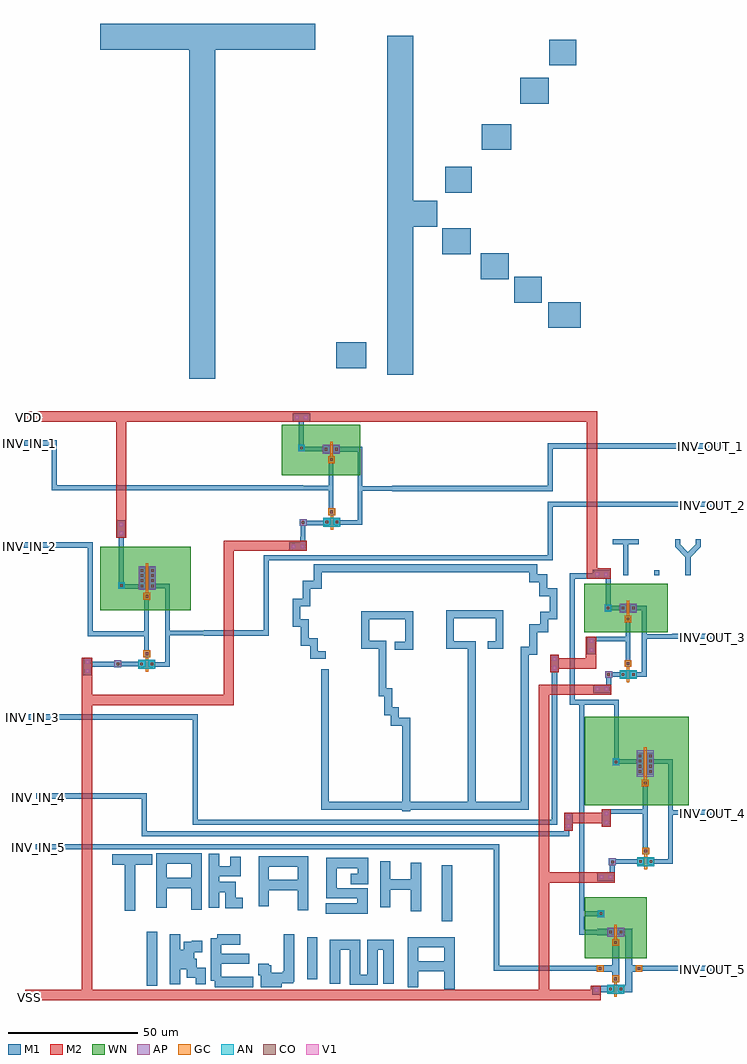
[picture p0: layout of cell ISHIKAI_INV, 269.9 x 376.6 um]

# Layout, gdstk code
from math import pi, radians
import gdstk
lib = gdstk.Library(unit=1e-6, precision=1e-07)
def R(c, l, rs):  # rectangles x0, y0, x1, y1
    for r in rs: c.add(gdstk.rectangle(r[:2], r[2:], *l))
def A(c, l, x, y, w, h, nx, ny, dx, dy):  # array of equal rectangles
    R(c, l, [(x+i*dx, y+j*dy, x+i*dx+w, y+j*dy+h) for i in range(nx) for j in range(ny)])
def P(c, l, *ps):  # polygons
    for p in ps: c.add(gdstk.Polygon(p, *l))
AP = (3, 1)
AN = (3, 2)
GC = (8, 1)
CO = (11, 0)
M1 = (13, 0)
V1 = (19, 0)
M2 = (20, 0)
WN = (140, 0)

cont_g = lib.new_cell('cont_g')
R(cont_g, GC, [(-1.3,-1.3,1.3,1.3)])
R(cont_g, CO, [(-0.5,-0.5,0.5,0.5)])
R(cont_g, M1, [(-1.3,-1.3,1.3,1.3)])

cont_n = lib.new_cell('cont_n')
R(cont_n, AN, [(-1.3,-1.3,1.3,1.3)])
R(cont_n, CO, [(-0.5,-0.5,0.5,0.5)])
R(cont_n, M1, [(-1.3,-1.3,1.3,1.3)])

cont_p = lib.new_cell('cont_p')
R(cont_p, AP, [(-1.3,-1.3,1.3,1.3)])
R(cont_p, CO, [(-0.5,-0.5,0.5,0.5)])
R(cont_p, M1, [(-1.3,-1.3,1.3,1.3)])

fet_n = lib.new_cell('fet_n')
R(fet_n, AN, [(-3.3,-1.7,3.3,1.7)])
R(fet_n, CO, [(-2.5,-0.5,-1.5,0.5), (1.5,-0.5,2.5,0.5)])
R(fet_n, M1, [(-3.3,-1.3,-0.7,1.3), (0.7,-1.3,3.3,1.3)])
fet_n.add(gdstk.FlexPath([(0,-2.9),(0,2.9)], 1, ends="flush", simple_path=True, layer=8, datatype=1))  # GC

fet_p = lib.new_cell('fet_p')
R(fet_p, AP, [(-3.3,-1.7,3.3,1.7)])
R(fet_p, CO, [(-2.5,-0.5,-1.5,0.5), (1.5,-0.5,2.5,0.5)])
R(fet_p, M1, [(-3.3,-1.3,-0.7,1.3), (0.7,-1.3,3.3,1.3)])
fet_p.add(gdstk.FlexPath([(0,-2.9),(0,2.9)], 1, ends="flush", simple_path=True, layer=8, datatype=1))  # GC

text = lib.new_cell('TEXT')
R(text, M1, [(16,0,18,2)])
P(text, M1, [(4,0),(4,12),(0,12),(0,14),(10,14),(10,12),(6,12),(6,0)],
  [(28,0),(28,7),(24,11),(24,14),(26,14),(26,12),(29,9),(32,12),(32,14),(34,14),(34,11),(30,7),(30,0)])

inverter_exodjp = lib.new_cell('inverter_exodjp')
R(inverter_exodjp, WN, [(-15,8.7,17.3,27.5)])
inverter_exodjp.add(gdstk.FlexPath([(2,14.3),(2,-3.9)], 1.8, ends="flush", simple_path=True, layer=13, datatype=0))  # M1
inverter_exodjp.add(gdstk.FlexPath([(2.2,6.1),(-13.9,6.1)], 1.8, ends="flush", simple_path=True, layer=13, datatype=0))  # M1
inverter_exodjp.add(gdstk.FlexPath([(3.5,18),(8.2,18),(8.2,-7.6),(3.5,-7.6)], 1.8, ends="flush", simple_path=True, layer=13, datatype=0))  # M1
inverter_exodjp.add(gdstk.FlexPath([(8.2,7.1),(19.5,7.1)], 1.8, ends="flush", simple_path=True, layer=13, datatype=0))  # M1
inverter_exodjp.add(gdstk.FlexPath([(0.5,18),(-5.7,18),(-5.7,31.4)], 1.8, ends="flush", simple_path=True, layer=13, datatype=0))  # M1
inverter_exodjp.add(gdstk.FlexPath([(-0.3,-7.6),(-5.5,-7.6),(-5.5,-13.5)], 1.8, ends="flush", simple_path=True, layer=13, datatype=0))  # M1
inverter_exodjp.add(gdstk.Reference(cont_g, (2,13.8)))
inverter_exodjp.add(gdstk.Reference(cont_g, (2,-3.4)))
inverter_exodjp.add(gdstk.Reference(cont_n, (-5.8,18)))
inverter_exodjp.add(gdstk.Reference(cont_p, (-5.5,-7.6)))
inverter_exodjp.add(gdstk.Reference(fet_n, (2,-7.6)))
inverter_exodjp.add(gdstk.Reference(fet_p, (2,18)))
inverter_exodjp.add(gdstk.Reference(text, (-3.9,30.6)))
inverter_exodjp.add(gdstk.Label('A', (-12.4,5.9), layer=48, texttype=0))
inverter_exodjp.add(gdstk.Label('Q', (18.7,7), layer=48, texttype=0))
inverter_exodjp.add(gdstk.Label('VDD', (-6.1,30), layer=48, texttype=0))
inverter_exodjp.add(gdstk.Label('VSS', (-5.8,-13), layer=48, texttype=0))

fet_p_1 = lib.new_cell('fet_p$1')
R(fet_p_1, AP, [(-3.3,-4.5,3.3,4.5)])
A(fet_p_1, CO, -2.5, -3.5, 1, 1, 1, 4, 0, 2)
A(fet_p_1, CO, 1.5, -3.5, 1, 1, 1, 4, 0, 2)
R(fet_p_1, M1, [(-3.3,-4.3,-0.7,4.3), (0.7,-4.3,3.3,4.3)])
fet_p_1.add(gdstk.FlexPath([(0,-5.7),(0,5.7)], 1, ends="flush", simple_path=True, layer=8, datatype=1))  # GC

cont_g_1 = lib.new_cell('cont_g$1')
R(cont_g_1, GC, [(-1.3,-1.3,1.3,1.3)])
R(cont_g_1, CO, [(-0.5,-0.5,0.5,0.5)])
R(cont_g_1, M1, [(-1.3,-1.3,1.3,1.3)])

fet_n_1 = lib.new_cell('fet_n$1')
R(fet_n_1, AN, [(-3.3,-1.7,3.3,1.7)])
R(fet_n_1, CO, [(-2.5,-0.5,-1.5,0.5), (1.5,-0.5,2.5,0.5)])
R(fet_n_1, M1, [(-3.3,-1.3,-0.7,1.3), (0.7,-1.3,3.3,1.3)])
fet_n_1.add(gdstk.FlexPath([(0,-2.9),(0,2.9)], 1, ends="flush", simple_path=True, layer=8, datatype=1))  # GC

cont_n_1 = lib.new_cell('cont_n$1')
R(cont_n_1, AN, [(-1.3,-1.3,1.3,1.3)])
R(cont_n_1, CO, [(-0.5,-0.5,0.5,0.5)])
R(cont_n_1, M1, [(-1.3,-1.3,1.3,1.3)])

cont_p_1 = lib.new_cell('cont_p$1')
R(cont_p_1, AP, [(-1.3,-1.3,1.3,1.3)])
R(cont_p_1, CO, [(-0.5,-0.5,0.5,0.5)])
R(cont_p_1, M1, [(-1.3,-1.3,1.3,1.3)])

inverter_july_fifth = lib.new_cell('inverter_july_fifth')
R(inverter_july_fifth, WN, [(-17.4,-8,17.5,16.5)])
inverter_july_fifth.add(gdstk.FlexPath([(69.6,-25.3),(65,-25.3),(65,-20.3),(61.4,-20.3),(61.4,-12.9),(58.2,-12.9),(58.2,-5),(62.1,-5),(62.1,1.8),(66.4,1.8),(66.4,8.2),(149.6,8.2),(149.6,4.3),(153.5,4.3),(153.5,-1.1),(157.4,-1.1),(157.4,-10),(153.8,-10),(153.8,-15),(149.6,-15),(149.6,-23.6),(146.3,-23.6),(146.3,-83.4),(69.2,-83.4),(69.2,-30.8)], 3, ends="flush", simple_path=True, layer=13, datatype=0))  # M1
inverter_july_fifth.add(gdstk.FlexPath([(-12.8,-104.2),(2.6,-104.2)], 4, ends="flush", simple_path=True, layer=13, datatype=0))  # M1
inverter_july_fifth.add(gdstk.FlexPath([(-6,-104.2),(-6,-123.9)], 4, ends="flush", simple_path=True, layer=13, datatype=0))  # M1
inverter_july_fifth.add(gdstk.FlexPath([(6.2,-122.9),(6.2,-103.8),(19.7,-103.8),(19.7,-123.5)], 4, ends="flush", simple_path=True, layer=13, datatype=0))  # M1
inverter_july_fifth.add(gdstk.FlexPath([(6.8,-113.3),(18.8,-113.3)], 4, ends="flush", simple_path=True, layer=13, datatype=0))  # M1
inverter_july_fifth.add(gdstk.FlexPath([(45.6,-122.3),(45.6,-105),(60.7,-105),(60.7,-123.8)], 4, ends="flush", simple_path=True, layer=13, datatype=0))  # M1
inverter_july_fifth.add(gdstk.FlexPath([(45.9,-114),(60.4,-114)], 4, ends="flush", simple_path=True, layer=13, datatype=0))  # M1
inverter_july_fifth.add(gdstk.FlexPath([(79.1,-111.7),(83.9,-111.7),(83.9,-105.5),(71.8,-105.5),(71.8,-117.2),(83.7,-117.2),(83.7,-123.1),(69.6,-123.1)], 4, ends="flush", simple_path=True, layer=13, datatype=0))  # M1
inverter_july_fifth.add(gdstk.FlexPath([(92.5,-104.9),(92.5,-122.7)], 4, ends="flush", simple_path=True, layer=13, datatype=0))  # M1
inverter_july_fifth.add(gdstk.FlexPath([(93,-113.8),(102.4,-113.8)], 4, ends="flush", simple_path=True, layer=13, datatype=0))  # M1
inverter_july_fifth.add(gdstk.FlexPath([(104.4,-105.4),(104.4,-124.2)], 4, ends="flush", simple_path=True, layer=13, datatype=0))  # M1
inverter_july_fifth.add(gdstk.FlexPath([(116.3,-106.4),(116.3,-128.1)], 4, ends="flush", simple_path=True, layer=13, datatype=0))  # M1
inverter_july_fifth.add(gdstk.FlexPath([(2.5,-132.1),(2.5,-152.9)], 4, ends="flush", simple_path=True, layer=13, datatype=0))  # M1
inverter_july_fifth.add(gdstk.FlexPath([(11.4,-133.1),(11.4,-152.4)], 4, ends="flush", simple_path=True, layer=13, datatype=0))  # M1
inverter_july_fifth.add(gdstk.FlexPath([(11.9,-141),(16.8,-141),(16.8,-138),(19.8,-138),(19.8,-135.6)], 4, ends="flush", simple_path=True, layer=13, datatype=0))  # M1
inverter_july_fifth.add(gdstk.FlexPath([(12.9,-144.5),(17.8,-144.5),(17.8,-147.9),(21.3,-147.9),(21.3,-152.4)], 4, ends="flush", simple_path=True, layer=13, datatype=0))  # M1
inverter_july_fifth.add(gdstk.FlexPath([(27.2,-134.6),(27.2,-150.9)], 4, ends="flush", simple_path=True, layer=13, datatype=0))  # M1
inverter_july_fifth.add(gdstk.FlexPath([(27.7,-135.1),(36.6,-135.1)], 4, ends="flush", simple_path=True, layer=13, datatype=0))  # M1
inverter_july_fifth.add(gdstk.FlexPath([(27.7,-142.5),(40.1,-142.5)], 4, ends="flush", simple_path=True, layer=13, datatype=0))  # M1
inverter_july_fifth.add(gdstk.FlexPath([(26.7,-151.4),(41.6,-151.4)], 4, ends="flush", simple_path=True, layer=13, datatype=0))  # M1
inverter_july_fifth.add(gdstk.FlexPath([(55.4,-133.1),(55.4,-149.4),(54.9,-149.4),(54.9,-149.9),(50.5,-149.9),(50.5,-151.4),(46.5,-151.4),(46.5,-146.9),(45.5,-146.9),(45.5,-144.5)], 4, ends="flush", simple_path=True, layer=13, datatype=0))  # M1
inverter_july_fifth.add(gdstk.FlexPath([(64.3,-134.1),(64.3,-150.4)], 4, ends="flush", simple_path=True, layer=13, datatype=0))  # M1
inverter_july_fifth.add(gdstk.FlexPath([(73.1,-135.2),(73.1,-152.1)], 4, ends="flush", simple_path=True, layer=13, datatype=0))  # M1
inverter_july_fifth.add(gdstk.FlexPath([(74.6,-137.1),(80.8,-137.1),(80.8,-150.6),(87.6,-150.6),(87.6,-137.1),(93.8,-137.1),(93.8,-152.1)], 4, ends="flush", simple_path=True, layer=13, datatype=0))  # M1
inverter_july_fifth.add(gdstk.FlexPath([(103.2,-153.4),(103.2,-136.1),(117.3,-136.1),(117.3,-154.3)], 4, ends="flush", simple_path=True, layer=13, datatype=0))  # M1
inverter_july_fifth.add(gdstk.FlexPath([(104.7,-145.4),(116.4,-145.4)], 4, ends="flush", simple_path=True, layer=13, datatype=0))  # M1
inverter_july_fifth.add(gdstk.FlexPath([(26.4,-102),(26.4,-122.9)], 4, ends="flush", simple_path=True, layer=13, datatype=0))  # M1
inverter_july_fifth.add(gdstk.FlexPath([(26.9,-108.7),(34.7,-108.7),(34.7,-103.2)], 4, ends="flush", simple_path=True, layer=13, datatype=0))  # M1
inverter_july_fifth.add(gdstk.FlexPath([(26.6,-114.8),(32.8,-114.8),(32.8,-121),(37.5,-121)], 4, ends="flush", simple_path=True, layer=13, datatype=0))  # M1
inverter_july_fifth.add(gdstk.FlexPath([(100.6,-85.5),(100.6,-51),(96.1,-51),(96.1,-47),(93.6,-47),(93.6,-39.6),(91.4,-39.6),(91.4,-21.3),(84.8,-21.3),(84.8,-9.9),(101.7,-9.9),(101.7,-21.7),(96.1,-21.7)], 3, ends="flush", simple_path=True, layer=13, datatype=0))  # M1
inverter_july_fifth.add(gdstk.FlexPath([(125.9,-84.9),(125.9,-21.4),(117.5,-21.4),(117.5,-9.6),(136.6,-9.6),(136.6,-21.4),(132.1,-21.4)], 3, ends="flush", simple_path=True, layer=13, datatype=0))  # M1
inverter_july_fifth.add(gdstk.FlexPath([(0.4,-3.7),(0.4,-24)], 1.8, ends="flush", simple_path=True, layer=13, datatype=0))  # M1
inverter_july_fifth.add(gdstk.FlexPath([(0,-17.1),(-17.3,-17.1)], 1.8, ends="flush", simple_path=True, layer=13, datatype=0))  # M1
inverter_july_fifth.add(gdstk.FlexPath([(-8.3,1.2),(-2.4,1.2)], 1.8, ends="flush", simple_path=True, layer=13, datatype=0))  # M1
inverter_july_fifth.add(gdstk.FlexPath([(8.9,-16.8),(22.5,-16.8)], 1.8, ends="flush", simple_path=True, layer=13, datatype=0))  # M1
inverter_july_fifth.add(gdstk.FlexPath([(-9.8,-28.8),(-2.4,-28.8)], 1.8, ends="flush", simple_path=True, layer=13, datatype=0))  # M1
inverter_july_fifth.add(gdstk.FlexPath([(-9.4,2.4),(-9.4,20.1)], 1.8, ends="flush", simple_path=True, layer=13, datatype=0))  # M1
inverter_july_fifth.add(gdstk.FlexPath([(3.6,-29),(8.4,-29),(8.4,1.3),(3.4,1.3)], 1.8, ends="flush", simple_path=True, layer=13, datatype=0))  # M1
inverter_july_fifth.add(gdstk.Reference(fet_p_1, (0.6,4.4)))
inverter_july_fifth.add(gdstk.Reference(cont_g_1, (0.5,-2.6)))
inverter_july_fifth.add(gdstk.Reference(fet_n_1, (0.5,-28.8)))
inverter_july_fifth.add(gdstk.Reference(cont_g_1, (0.5,-24.8)))
inverter_july_fifth.add(gdstk.Reference(cont_n_1, (-9.3,1.5)))
inverter_july_fifth.add(gdstk.Reference(cont_p_1, (-10.7,-28.7)))

fet_p_2 = lib.new_cell('fet_p$2')
R(fet_p_2, AP, [(-3.3,-1.7,3.3,1.7)])
R(fet_p_2, CO, [(-2.5,-0.5,-1.5,0.5), (1.5,-0.5,2.5,0.5)])
R(fet_p_2, M1, [(-3.3,-1.3,-0.7,1.3), (0.7,-1.3,3.3,1.3)])
fet_p_2.add(gdstk.FlexPath([(0,-2.9),(0,2.9)], 1, ends="flush", simple_path=True, layer=8, datatype=1))  # GC

cont_g_2 = lib.new_cell('cont_g$2')
R(cont_g_2, GC, [(-1.3,-1.3,1.3,1.3)])
R(cont_g_2, CO, [(-0.5,-0.5,0.5,0.5)])
R(cont_g_2, M1, [(-1.3,-1.3,1.3,1.3)])

cont_n_2 = lib.new_cell('cont_n$2')
R(cont_n_2, AN, [(-1.3,-1.3,1.3,1.3)])
R(cont_n_2, CO, [(-0.5,-0.5,0.5,0.5)])
R(cont_n_2, M1, [(-1.3,-1.3,1.3,1.3)])

fet_n_2 = lib.new_cell('fet_n$2')
R(fet_n_2, AN, [(-3.3,-1.7,3.3,1.7)])
R(fet_n_2, CO, [(-2.5,-0.5,-1.5,0.5), (1.5,-0.5,2.5,0.5)])
R(fet_n_2, M1, [(-3.3,-1.3,-0.7,1.3), (0.7,-1.3,3.3,1.3)])
fet_n_2.add(gdstk.FlexPath([(0,-2.9),(0,2.9)], 1, ends="flush", simple_path=True, layer=8, datatype=1))  # GC

cont_p_2 = lib.new_cell('cont_p$2')
R(cont_p_2, AP, [(-1.3,-1.3,1.3,1.3)])
R(cont_p_2, CO, [(-0.5,-0.5,0.5,0.5)])
R(cont_p_2, M1, [(-1.3,-1.3,1.3,1.3)])

inverter_kubotakeshi = lib.new_cell('inverter_kubotakeshi')
R(inverter_kubotakeshi, WN, [(-20,-4.9,10.2,14.6)])
inverter_kubotakeshi.add(gdstk.FlexPath([(-90,164.2),(-7.2,164.2)], 10, ends="flush", simple_path=True, layer=13, datatype=0))  # M1
inverter_kubotakeshi.add(gdstk.FlexPath([(-50.8,163.9),(-50.8,32.3)], 10, ends="flush", simple_path=True, layer=13, datatype=0))  # M1
inverter_kubotakeshi.add(gdstk.FlexPath([(1,41.4),(12.6,41.4)], 10, ends="flush", simple_path=True, layer=13, datatype=0))  # M1
inverter_kubotakeshi.add(gdstk.FlexPath([(25.7,164.6),(25.7,33.9)], 10, ends="flush", simple_path=True, layer=13, datatype=0))  # M1
inverter_kubotakeshi.add(gdstk.FlexPath([(26.3,96),(39.9,96)], 10, ends="flush", simple_path=True, layer=13, datatype=0))  # M1
inverter_kubotakeshi.add(gdstk.FlexPath([(43.1,109.1),(53.2,109.1)], 10, ends="flush", simple_path=True, layer=13, datatype=0))  # M1
inverter_kubotakeshi.add(gdstk.FlexPath([(57.2,125.6),(68.5,125.6)], 10, ends="flush", simple_path=True, layer=13, datatype=0))  # M1
inverter_kubotakeshi.add(gdstk.FlexPath([(72,143.4),(83,143.4)], 10, ends="flush", simple_path=True, layer=13, datatype=0))  # M1
inverter_kubotakeshi.add(gdstk.FlexPath([(83.2,158.2),(93.5,158.2)], 10, ends="flush", simple_path=True, layer=13, datatype=0))  # M1
inverter_kubotakeshi.add(gdstk.FlexPath([(41.9,85.3),(52.9,85.3)], 10, ends="flush", simple_path=True, layer=13, datatype=0))  # M1
inverter_kubotakeshi.add(gdstk.FlexPath([(56.7,75.7),(67.5,75.7)], 10, ends="flush", simple_path=True, layer=13, datatype=0))  # M1
inverter_kubotakeshi.add(gdstk.FlexPath([(69.7,66.7),(80.2,66.7)], 10, ends="flush", simple_path=True, layer=13, datatype=0))  # M1
inverter_kubotakeshi.add(gdstk.FlexPath([(82.8,56.9),(95.3,56.9)], 10, ends="flush", simple_path=True, layer=13, datatype=0))  # M1
inverter_kubotakeshi.add(gdstk.FlexPath([(-1,1.6),(-1,-19.4)], 1.8, ends="flush", simple_path=True, layer=13, datatype=0))  # M1
inverter_kubotakeshi.add(gdstk.FlexPath([(0.6,5.1),(10.2,5.1),(10.2,-23.1),(0.8,-23.1)], 1.8, ends="flush", simple_path=True, layer=13, datatype=0))  # M1
inverter_kubotakeshi.add(gdstk.FlexPath([(10.1,-10),(22.7,-10)], 1.8, ends="flush", simple_path=True, layer=13, datatype=0))  # M1
inverter_kubotakeshi.add(gdstk.FlexPath([(-1.1,-9.8),(-12.5,-9.8)], 1.8, ends="flush", simple_path=True, layer=13, datatype=0))  # M1
inverter_kubotakeshi.add(gdstk.FlexPath([(-12,-23.3),(-2.3,-23.3)], 1.8, ends="flush", simple_path=True, layer=13, datatype=0))  # M1
inverter_kubotakeshi.add(gdstk.FlexPath([(-2.5,5.2),(-12.9,5.2)], 1.8, ends="flush", simple_path=True, layer=13, datatype=0))  # M1
inverter_kubotakeshi.add(gdstk.FlexPath([(-12.5,5.3),(-12.5,17.7)], 1.8, ends="flush", simple_path=True, layer=13, datatype=0))  # M1
inverter_kubotakeshi.add(gdstk.FlexPath([(-11.9,-22.8),(-11.9,-28.9)], 1.8, ends="flush", simple_path=True, layer=13, datatype=0))  # M1
inverter_kubotakeshi.add(gdstk.Reference(fet_p_2, (-0.9,5.1)))
inverter_kubotakeshi.add(gdstk.Reference(cont_g_2, (-0.9,1.1)))
inverter_kubotakeshi.add(gdstk.Reference(cont_n_2, (-12.4,5.6)))
inverter_kubotakeshi.add(gdstk.Reference(fet_n_2, (-0.7,-23)))
inverter_kubotakeshi.add(gdstk.Reference(cont_g_2, (-0.8,-19)))
inverter_kubotakeshi.add(gdstk.Reference(cont_p_2, (-11.8,-23.2)))
inverter_kubotakeshi.add(gdstk.Label('VSS', (-12.2,-28.4), layer=48, texttype=0))
inverter_kubotakeshi.add(gdstk.Label('VDD', (-13.1,16.5), layer=48, texttype=0))
inverter_kubotakeshi.add(gdstk.Label('A', (-11.9,-10), layer=48, texttype=0))
inverter_kubotakeshi.add(gdstk.Label('Q', (21.7,-10.2), layer=48, texttype=0))

cont_g_3 = lib.new_cell('cont_g$3')
R(cont_g_3, GC, [(-1.3,-1.3,1.3,1.3)])
R(cont_g_3, CO, [(-0.5,-0.5,0.5,0.5)])
R(cont_g_3, M1, [(-1.3,-1.3,1.3,1.3)])

cont_n_3 = lib.new_cell('cont_n$3')
R(cont_n_3, AN, [(-1.3,-1.3,1.3,1.3)])
R(cont_n_3, CO, [(-0.5,-0.5,0.5,0.5)])
R(cont_n_3, M1, [(-1.3,-1.3,1.3,1.3)])

cont_p_3 = lib.new_cell('cont_p$3')
R(cont_p_3, AP, [(-1.3,-1.3,1.3,1.3)])
R(cont_p_3, CO, [(-0.5,-0.5,0.5,0.5)])
R(cont_p_3, M1, [(-1.3,-1.3,1.3,1.3)])

fet_n_3 = lib.new_cell('fet_n$3')
R(fet_n_3, AN, [(-3.3,-1.7,3.3,1.7)])
R(fet_n_3, CO, [(-2.5,-0.5,-1.5,0.5), (1.5,-0.5,2.5,0.5)])
R(fet_n_3, M1, [(-3.3,-1.3,-0.7,1.3), (0.7,-1.3,3.3,1.3)])
fet_n_3.add(gdstk.FlexPath([(0,-2.9),(0,2.9)], 1, ends="flush", simple_path=True, layer=8, datatype=1))  # GC

fet_p_3 = lib.new_cell('fet_p$3')
R(fet_p_3, AP, [(-3.3,-5.1,3.3,5.1)])
A(fet_p_3, CO, -2.5, -3.5, 1, 1, 1, 4, 0, 2)
A(fet_p_3, CO, 1.5, -3.5, 1, 1, 1, 4, 0, 2)
R(fet_p_3, M1, [(-3.3,-4.3,-0.7,4.3), (0.7,-4.3,3.3,4.3)])
fet_p_3.add(gdstk.FlexPath([(0,-6.3),(0,6.3)], 1, ends="flush", simple_path=True, layer=8, datatype=1))  # GC

inverter_pankani = lib.new_cell('inverter_pankani')
R(inverter_pankani, WN, [(-21.4,-6.6,18.8,27.4)])
inverter_pankani.add(gdstk.FlexPath([(11.1,-9.4),(23,-9.4)], 1.8, ends="flush", simple_path=True, layer=13, datatype=0))  # M1
inverter_pankani.add(gdstk.FlexPath([(2.3,-9.1),(-14.6,-9.1)], 1.8, ends="flush", simple_path=True, layer=13, datatype=0))  # M1
inverter_pankani.add(gdstk.FlexPath([(1,-28.3),(-11.8,-28.3)], 1.8, ends="flush", simple_path=True, layer=13, datatype=0))  # M1
inverter_pankani.add(gdstk.FlexPath([(-10.7,-27.8),(-10.7,-34.6)], 1.8, ends="flush", simple_path=True, layer=13, datatype=0))  # M1
inverter_pankani.add(gdstk.FlexPath([(0.9,10.2),(-9.1,10.2),(-9.1,33.1)], 1.8, ends="flush", simple_path=True, layer=13, datatype=0))  # M1
inverter_pankani.add(gdstk.FlexPath([(2,2.7),(2,-25.3)], 1.8, ends="flush", simple_path=True, layer=13, datatype=0))  # M1
inverter_pankani.add(gdstk.FlexPath([(3.3,-28.4),(11.7,-28.4),(11.7,10.2),(3,10.2)], 1.8, ends="flush", simple_path=True, layer=13, datatype=0))  # M1
inverter_pankani.add(gdstk.Reference(cont_g_3, (2,1.9)))
inverter_pankani.add(gdstk.Reference(cont_n_3, (-9.3,10.1)))
inverter_pankani.add(gdstk.Reference(cont_g_3, (2.2,-24.3)))
inverter_pankani.add(gdstk.Reference(cont_p_3, (-10.7,-28.5)))
inverter_pankani.add(gdstk.Reference(fet_n_3, (2.2,-28.4)))
inverter_pankani.add(gdstk.Reference(fet_p_3, (2,9.4), rotation=pi))
inverter_pankani.add(gdstk.Label('VDD', (-9,30.9), layer=13, texttype=0))
inverter_pankani.add(gdstk.Label('Q', (22.2,-9.3), layer=13, texttype=0))
inverter_pankani.add(gdstk.Label('A', (-13.6,-9.1), layer=13, texttype=0))
inverter_pankani.add(gdstk.Label('VSS', (-10.9,-34.2), layer=13, texttype=0))

fet_p_4 = lib.new_cell('fet_p$4')
R(fet_p_4, AP, [(-3.3,-1.7,3.3,1.7)])
R(fet_p_4, CO, [(-2.5,-0.5,-1.5,0.5), (1.5,-0.5,2.5,0.5)])
R(fet_p_4, M1, [(-3.3,-1.3,-0.7,1.3), (0.7,-1.3,3.3,1.3)])
fet_p_4.add(gdstk.FlexPath([(0,-2.9),(0,2.9)], 1, ends="flush", simple_path=True, layer=8, datatype=1))  # GC

fet_n_4 = lib.new_cell('fet_n$4')
R(fet_n_4, AN, [(-3.3,-1.7,3.3,1.7)])
R(fet_n_4, CO, [(-2.5,-0.5,-1.5,0.5), (1.5,-0.5,2.5,0.5)])
R(fet_n_4, M1, [(-3.3,-1.3,-0.7,1.3), (0.7,-1.3,3.3,1.3)])
fet_n_4.add(gdstk.FlexPath([(0,-2.9),(0,2.9)], 1, ends="flush", simple_path=True, layer=8, datatype=1))  # GC

via_1 = lib.new_cell('via_1')

cont_g_4 = lib.new_cell('cont_g$4')
R(cont_g_4, GC, [(-1.3,-1.3,1.3,1.3)])
R(cont_g_4, CO, [(-0.5,-0.5,0.5,0.5)])
R(cont_g_4, M1, [(-1.3,-1.3,1.3,1.3)])

inverter_yasushitech = lib.new_cell('inverter_yasushitech')
R(inverter_yasushitech, WN, [(8,8,32,31.4)])
inverter_yasushitech.add(gdstk.FlexPath([(19,-4),(13,-4)], 2.6, ends="flush", simple_path=True, layer=13, datatype=0))  # M1
inverter_yasushitech.add(gdstk.FlexPath([(21,18),(25,18),(25,-1)], 2.6, ends="flush", simple_path=True, layer=13, datatype=0))  # M1
inverter_yasushitech.add(gdstk.FlexPath([(25,-1),(25,-4),(21,-4)], 2.6, ends="flush", simple_path=True, layer=13, datatype=0))  # M1
inverter_yasushitech.add(gdstk.FlexPath([(20,-1),(20,15),(20,15)], 2.6, ends="flush", simple_path=True, layer=13, datatype=0))  # M1
inverter_yasushitech.add(gdstk.FlexPath([(17,18),(13,18)], 2.6, ends="flush", simple_path=True, layer=13, datatype=0))  # M1
inverter_yasushitech.add(gdstk.FlexPath([(25,4),(30,4)], 2.6, ends="flush", simple_path=True, layer=13, datatype=0))  # M1
inverter_yasushitech.add(gdstk.FlexPath([(20,4),(13,4)], 2.6, ends="flush", simple_path=True, layer=13, datatype=0))  # M1
inverter_yasushitech.add(gdstk.Reference(fet_p_4, (20,18)))
inverter_yasushitech.add(gdstk.Reference(fet_n_4, (20,-4)))
inverter_yasushitech.add(gdstk.Reference(via_1, (14,-4)))
inverter_yasushitech.add(gdstk.Reference(cont_g_4, (20,14)))
inverter_yasushitech.add(gdstk.Reference(cont_g_4, (20,0)))
inverter_yasushitech.add(gdstk.Reference(via_1, (14,18)))
inverter_yasushitech.add(gdstk.Reference(cont_g_4, (29,4)))
inverter_yasushitech.add(gdstk.Reference(cont_g_4, (14,4)))

via_1_1 = lib.new_cell('via_1$1')
R(via_1_1, M1, [(-1.7,-1.7,1.7,1.7)])
R(via_1_1, V1, [(-0.7,-0.7,0.7,0.7)])
R(via_1_1, M2, [(-1.7,-1.7,1.7,1.7)])

cont_n_4 = lib.new_cell('cont_n$4')
R(cont_n_4, AN, [(-1.3,-1.3,1.3,1.3)])
R(cont_n_4, CO, [(-0.5,-0.5,0.5,0.5)])
R(cont_n_4, M1, [(-1.3,-1.3,1.3,1.3)])

ishikai_inv = lib.new_cell('ISHIKAI_INV')
ishikai_inv.add(gdstk.FlexPath([(104.6,-97.3),(95.7,-97.3),(95.7,-8.4)], 2, ends="flush", simple_path=True, layer=13, datatype=0))  # M1
ishikai_inv.add(gdstk.FlexPath([(103.8,-111.2),(62.8,-111.2),(62.8,-64.3),(-115,-64.3)], 2, ends="flush", simple_path=True, layer=13, datatype=0))  # M1
ishikai_inv.add(gdstk.FlexPath([(103.4,-90.1),(95.9,-90.1)], 2, ends="flush", simple_path=True, layer=13, datatype=0))  # M1
ishikai_inv.add(gdstk.FlexPath([(118.1,-111.2),(149.7,-111.2)], 2, ends="flush", simple_path=True, layer=13, datatype=0))  # M1
ishikai_inv.add(gdstk.FlexPath([(-11.7,74.2),(-107.8,74.2),(-107.8,91.5),(-119.5,91.5)], 2, ends="flush", simple_path=True, layer=13, datatype=0))  # M1
ishikai_inv.add(gdstk.FlexPath([(86.2,-54.8),(-53.4,-54.8),(-53.4,-14.2),(-117.6,-14.2)], 2, ends="flush", simple_path=True, layer=13, datatype=0))  # M1
ishikai_inv.add(gdstk.FlexPath([(89.9,-56.5),(89.9,-59.3),(-73.1,-59.3),(-73.1,-44.7),(-114.7,-44.7)], 2, ends="flush", simple_path=True, layer=13, datatype=0))  # M1
ishikai_inv.add(gdstk.FlexPath([(-89.4,17.9),(-94,17.9),(-94,52.2),(-119.6,52.2)], 2, ends="flush", simple_path=True, layer=13, datatype=0))  # M1
ishikai_inv.add(gdstk.FlexPath([(-81.9,6.2),(-94.6,6.2)], 2, ends="flush", simple_path=True, layer=13, datatype=0))  # M1
ishikai_inv.add(gdstk.FlexPath([(110,-8.5),(92.1,-8.5),(92.1,40.2),(106.8,40.2)], 2, ends="flush", simple_path=True, layer=13, datatype=0))  # M1
ishikai_inv.add(gdstk.FlexPath([(-11.9,55.4),(-11.9,51.2)], 2, ends="flush", simple_path=True, layer=13, datatype=0))  # M1
ishikai_inv.add(gdstk.FlexPath([(85.2,6.4),(85.2,-54.8)], 2, ends="flush", simple_path=True, layer=13, datatype=0))  # M1
ishikai_inv.add(gdstk.FlexPath([(22.6,74),(83.6,74),(83.6,90.4),(150,90.4)], 2, ends="flush", simple_path=True, layer=13, datatype=0))  # M1
ishikai_inv.add(gdstk.FlexPath([(-50.2,18.2),(-26,18.2),(-26,47.3),(83.6,47.3),(83.6,67.9),(150,67.9)], 2, ends="flush", simple_path=True, layer=13, datatype=0))  # M1
ishikai_inv.add(gdstk.FlexPath([(130.6,16.9),(150.3,16.9)], 2, ends="flush", simple_path=True, layer=13, datatype=0))  # M1
ishikai_inv.add(gdstk.FlexPath([(138.9,-51),(149.3,-51)], 2, ends="flush", simple_path=True, layer=13, datatype=0))  # M1
ishikai_inv.add(gdstk.FlexPath([(101.1,-117.9),(101.1,-121.4),(-119,-121.4)], 4, ends="flush", simple_path=True, layer=20, datatype=0))  # M2
ishikai_inv.add(gdstk.FlexPath([(-11.6,101.7),(-118.6,101.7)], 4, ends="flush", simple_path=True, layer=20, datatype=0))  # M2
ishikai_inv.add(gdstk.FlexPath([(-82,55),(-82,102.4)], 4, ends="flush", simple_path=True, layer=20, datatype=0))  # M2
ishikai_inv.add(gdstk.FlexPath([(106.8,41.2),(99.6,41.2),(99.6,101.7),(-11.8,101.7)], 4, ends="flush", simple_path=True, layer=20, datatype=0))  # M2
ishikai_inv.add(gdstk.FlexPath([(-95.2,-121.7),(-95.2,8.7)], 4, ends="flush", simple_path=True, layer=20, datatype=0))  # M2
ishikai_inv.add(gdstk.FlexPath([(107,-3.7),(81.2,-3.7),(81.2,-122.4)], 4, ends="flush", simple_path=True, layer=20, datatype=0))  # M2
ishikai_inv.add(gdstk.FlexPath([(108.4,-76.2),(80.9,-76.2)], 4, ends="flush", simple_path=True, layer=20, datatype=0))  # M2
ishikai_inv.add(gdstk.FlexPath([(-10.4,51.9),(-40.5,51.9),(-40.5,-7.6),(-96.1,-7.6)], 4, ends="flush", simple_path=True, layer=20, datatype=0))  # M2
ishikai_inv.add(gdstk.FlexPath([(106,-53.2),(90.8,-53.2)], 4, ends="flush", simple_path=True, layer=20, datatype=0))  # M2
ishikai_inv.add(gdstk.FlexPath([(99.3,16.8),(99.3,6.4),(84.6,6.4)], 4, ends="flush", simple_path=True, layer=20, datatype=0))  # M2
ishikai_inv.add(gdstk.Reference(inverter_exodjp, (111.6,9.8)))
ishikai_inv.add(gdstk.Reference(inverter_july_fifth, (-72.6,35)))
ishikai_inv.add(gdstk.Reference(inverter_kubotakeshi, (0,84)))
ishikai_inv.add(gdstk.Reference(inverter_pankani, (118.2,-41.6)))
ishikai_inv.add(gdstk.Reference(inverter_yasushitech, (88.8,-115.2)))
ishikai_inv.add(gdstk.Reference(via_1_1, (106.7,-75.9)))
ishikai_inv.add(gdstk.Reference(via_1_1, (103.3,-75.9)))
ishikai_inv.add(gdstk.Reference(via_1_1, (105.3,-3.4)))
ishikai_inv.add(gdstk.Reference(via_1_1, (101.9,-3.4)))
ishikai_inv.add(gdstk.Reference(via_1_1, (-82,56.7)))
ishikai_inv.add(gdstk.Reference(via_1_1, (-82,60.1)))
ishikai_inv.add(gdstk.Reference(via_1_1, (-14.2,101.4)))
ishikai_inv.add(gdstk.Reference(via_1_1, (-10.8,101.4)))
ishikai_inv.add(gdstk.Reference(via_1_1, (-95,7)))
ishikai_inv.add(gdstk.Reference(via_1_1, (-95,3.6)))
ishikai_inv.add(gdstk.Reference(via_1_1, (105.1,40.9)))
ishikai_inv.add(gdstk.Reference(via_1_1, (101.7,40.9)))
ishikai_inv.add(gdstk.Reference(via_1_1, (-12.1,51.6)))
ishikai_inv.add(gdstk.Reference(via_1_1, (-15.5,51.6)))
ishikai_inv.add(gdstk.Reference(via_1_1, (85.2,8.2)))
ishikai_inv.add(gdstk.Reference(via_1_1, (90.6,-56.3)))
ishikai_inv.add(gdstk.Reference(via_1_1, (85.2,4.8)))
ishikai_inv.add(gdstk.Reference(via_1_1, (90.6,-52.9)))
ishikai_inv.add(gdstk.Reference(via_1_1, (105.2,-51.5)))
ishikai_inv.add(gdstk.Reference(via_1_1, (105.2,-54.9)))
ishikai_inv.add(gdstk.Reference(via_1_1, (99.4,15.1)))
ishikai_inv.add(gdstk.Reference(via_1_1, (99.4,11.7)))
ishikai_inv.add(gdstk.Reference(cont_n_4, (103.1,-90.1)))
ishikai_inv.add(gdstk.Reference(via_1_1, (101.4,-119.6)))
ishikai_inv.add(gdstk.Label('INV_OUT_5', (146.9,-111.7), layer=48, texttype=0))
ishikai_inv.add(gdstk.Label('INV_IN_2', (-119.1,51.6), layer=48, texttype=0))
ishikai_inv.add(gdstk.Label('INV_IN_1', (-118.6,91.2), layer=48, texttype=0))
ishikai_inv.add(gdstk.Label('INV_IN_3', (-116.4,-14.5), layer=48, texttype=0))
ishikai_inv.add(gdstk.Label('INV_IN_4', (-113.8,-45.2), layer=48, texttype=0))
ishikai_inv.add(gdstk.Label('INV_IN_5', (-113.8,-64.4), layer=48, texttype=0))
ishikai_inv.add(gdstk.Label('INV_OUT_1', (145.4,90.1), layer=48, texttype=0))
ishikai_inv.add(gdstk.Label('INV_OUT_2', (146.8,67.4), layer=48, texttype=0))
ishikai_inv.add(gdstk.Label('INV_OUT_3', (147.6,16.6), layer=48, texttype=0))
ishikai_inv.add(gdstk.Label('INV_OUT_4', (147.2,-51.6), layer=48, texttype=0))
ishikai_inv.add(gdstk.Label('VDD', (-117.6,101.4), layer=49, texttype=0))
ishikai_inv.add(gdstk.Label('VSS', (-117.3,-122.3), layer=49, texttype=0))

lib.write_gds('ISHIKAI_INV.gds')
